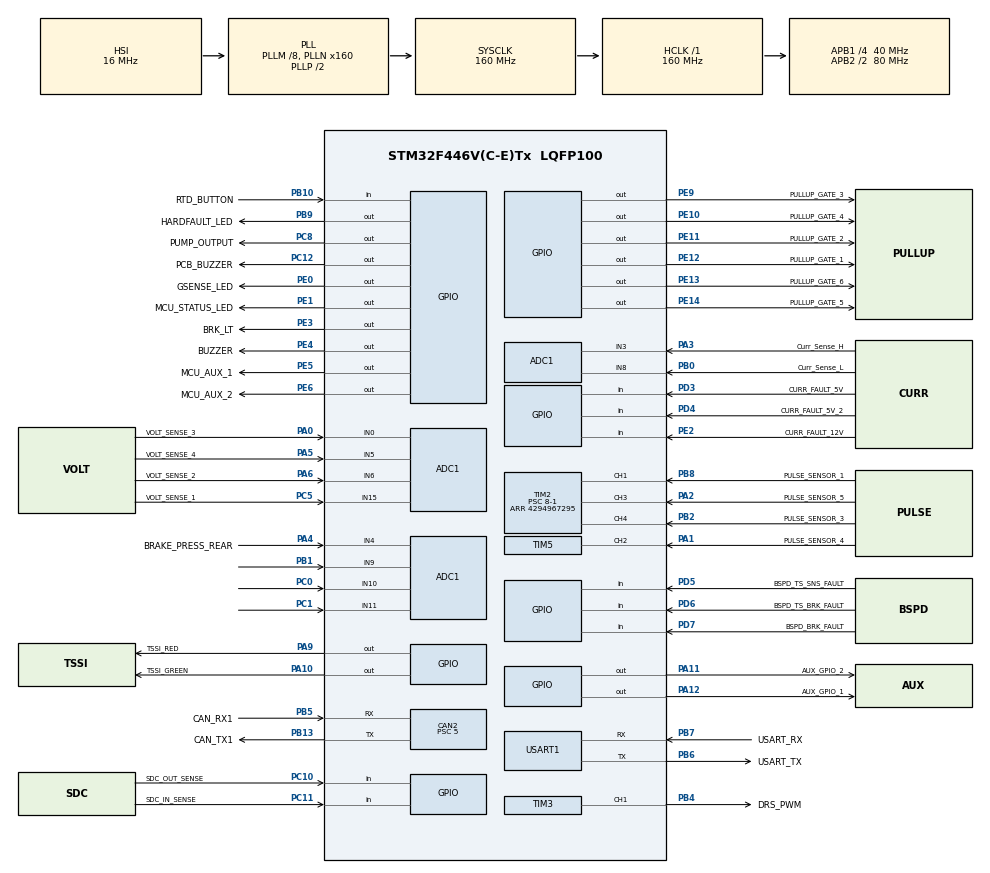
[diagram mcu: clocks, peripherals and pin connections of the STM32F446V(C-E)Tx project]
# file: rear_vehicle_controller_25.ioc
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ADC1.Channel-0\#ChannelRegularConversion=ADC_CHANNEL_0
ADC1.Channel-1\#ChannelRegularConversion=ADC_CHANNEL_3
ADC1.Channel-2\#ChannelRegularConversion=ADC_CHANNEL_4
ADC1.Channel-3\#ChannelRegularConversion=ADC_CHANNEL_5
ADC1.Channel-4\#ChannelRegularConversion=ADC_CHANNEL_6
ADC1.Channel-5\#ChannelRegularConversion=ADC_CHANNEL_8
ADC1.Channel-6\#ChannelRegularConversion=ADC_CHANNEL_9
ADC1.Channel-7\#ChannelRegularConversion=ADC_CHANNEL_10
ADC1.Channel-8\#ChannelRegularConversion=ADC_CHANNEL_11
ADC1.Channel-9\#ChannelRegularConversion=ADC_CHANNEL_15
ADC1.ContinuousConvMode=ENABLE
ADC1.DMAContinuousRequests=ENABLE
ADC1.NbrOfConversion=10
ADC1.NbrOfConversionFlag=1
ADC1.Rank-0\#ChannelRegularConversion=1
ADC1.Rank-1\#ChannelRegularConversion=2
ADC1.Rank-2\#ChannelRegularConversion=3
ADC1.Rank-3\#ChannelRegularConversion=4
ADC1.Rank-4\#ChannelRegularConversion=5
ADC1.Rank-5\#ChannelRegularConversion=6
ADC1.Rank-6\#ChannelRegularConversion=7
ADC1.Rank-7\#ChannelRegularConversion=8
ADC1.Rank-8\#ChannelRegularConversion=9
ADC1.Rank-9\#ChannelRegularConversion=10
ADC1.SamplingTime-0\#ChannelRegularConversion=ADC_SAMPLETIME_480CYCLES
ADC1.SamplingTime-1\#ChannelRegularConversion=ADC_SAMPLETIME_480CYCLES
ADC1.SamplingTime-2\#ChannelRegularConversion=ADC_SAMPLETIME_480CYCLES
ADC1.SamplingTime-3\#ChannelRegularConversion=ADC_SAMPLETIME_480CYCLES
ADC1.SamplingTime-4\#ChannelRegularConversion=ADC_SAMPLETIME_480CYCLES
ADC1.SamplingTime-5\#ChannelRegularConversion=ADC_SAMPLETIME_480CYCLES
ADC1.SamplingTime-6\#ChannelRegularConversion=ADC_SAMPLETIME_480CYCLES
ADC1.SamplingTime-7\#ChannelRegularConversion=ADC_SAMPLETIME_480CYCLES
ADC1.SamplingTime-8\#ChannelRegularConversion=ADC_SAMPLETIME_480CYCLES
ADC1.SamplingTime-9\#ChannelRegularConversion=ADC_SAMPLETIME_480CYCLES
ADC1.ScanConvMode=ENABLE
ADC1.master=1
CAN2.ABOM=ENABLE
CAN2.AWUM=ENABLE
CAN2.BS1=CAN_BS1_6TQ
CAN2.CalculateBaudRate=1000000
CAN2.CalculateTimeBit=1000
CAN2.CalculateTimeQuantum=125.0
CAN2.NART=DISABLE
CAN2.Prescaler=5
Dma.ADC1.0.Direction=DMA_PERIPH_TO_MEMORY
Dma.ADC1.0.FIFOMode=DMA_FIFOMODE_DISABLE
Dma.ADC1.0.Instance=DMA2_Stream0
Dma.ADC1.0.MemDataAlignment=DMA_MDATAALIGN_HALFWORD
Dma.ADC1.0.MemInc=DMA_MINC_ENABLE
Dma.ADC1.0.Mode=DMA_CIRCULAR
Dma.ADC1.0.PeriphDataAlignment=DMA_PDATAALIGN_HALFWORD
Dma.ADC1.0.PeriphInc=DMA_PINC_DISABLE
Dma.ADC1.0.Priority=DMA_PRIORITY_LOW
Dma.Request0=ADC1
Dma.Request1=TIM2_CH2/CH4
Dma.Request2=TIM2_UP/CH3
Dma.Request3=TIM5_CH2
Dma.TIM2_CH2/CH4.1.Direction=DMA_PERIPH_TO_MEMORY
Dma.TIM2_CH2/CH4.1.FIFOMode=DMA_FIFOMODE_DISABLE
Dma.TIM2_CH2/CH4.1.Instance=DMA1_Stream6
Dma.TIM2_CH2/CH4.1.MemDataAlignment=DMA_MDATAALIGN_WORD
Dma.TIM2_CH2/CH4.1.MemInc=DMA_MINC_ENABLE
Dma.TIM2_CH2/CH4.1.Mode=DMA_NORMAL
Dma.TIM2_CH2/CH4.1.PeriphDataAlignment=DMA_PDATAALIGN_WORD
Dma.TIM2_CH2/CH4.1.PeriphInc=DMA_PINC_DISABLE
Dma.TIM2_CH2/CH4.1.Priority=DMA_PRIORITY_LOW
Dma.TIM2_UP/CH3.2.Direction=DMA_PERIPH_TO_MEMORY
Dma.TIM2_UP/CH3.2.FIFOMode=DMA_FIFOMODE_DISABLE
Dma.TIM2_UP/CH3.2.Instance=DMA1_Stream1
Dma.TIM2_UP/CH3.2.MemDataAlignment=DMA_MDATAALIGN_WORD
Dma.TIM2_UP/CH3.2.MemInc=DMA_MINC_ENABLE
Dma.TIM2_UP/CH3.2.Mode=DMA_NORMAL
Dma.TIM2_UP/CH3.2.PeriphDataAlignment=DMA_PDATAALIGN_WORD
Dma.TIM2_UP/CH3.2.PeriphInc=DMA_PINC_DISABLE
Dma.TIM2_UP/CH3.2.Priority=DMA_PRIORITY_LOW
Dma.TIM5_CH2.3.Direction=DMA_PERIPH_TO_MEMORY
Dma.TIM5_CH2.3.FIFOMode=DMA_FIFOMODE_DISABLE
Dma.TIM5_CH2.3.Instance=DMA1_Stream4
Dma.TIM5_CH2.3.MemDataAlignment=DMA_MDATAALIGN_WORD
Dma.TIM5_CH2.3.MemInc=DMA_MINC_ENABLE
Dma.TIM5_CH2.3.Mode=DMA_CIRCULAR
Dma.TIM5_CH2.3.PeriphDataAlignment=DMA_PDATAALIGN_WORD
Dma.TIM5_CH2.3.PeriphInc=DMA_PINC_DISABLE
Dma.TIM5_CH2.3.Priority=DMA_PRIORITY_LOW
FREERTOS.Tasks01=main_task,0,1024,task_MainTask,Default,NULL,Dynamic,NULL,NULL;buffer_handling,1,1024,task_BufferHandling,Default,NULL,Dynamic,NULL,NULL
FREERTOS.configENABLE_FPU=1
FREERTOS.configMINIMAL_STACK_SIZE=256
FREERTOS.configUSE_NEWLIB_REENTRANT=1
Mcu.Family=STM32F4
Mcu.Name=STM32F446V(C-E)Tx
Mcu.Package=LQFP100
NVIC.CAN2_RX0_IRQn=true\:5\:0\:false\:false\:true\:true\:true\:true\:true
NVIC.CAN2_RX1_IRQn=true\:5\:0\:false\:false\:true\:true\:true\:true\:true
NVIC.CAN2_TX_IRQn=true\:5\:0\:false\:false\:true\:true\:true\:true\:true
NVIC.DMA1_Stream1_IRQn=true\:5\:0\:false\:false\:true\:true\:false\:true\:true
NVIC.DMA1_Stream4_IRQn=true\:5\:0\:false\:false\:true\:true\:false\:true\:true
NVIC.DMA1_Stream6_IRQn=true\:5\:0\:false\:false\:true\:true\:false\:true\:true
NVIC.DMA2_Stream0_IRQn=true\:5\:0\:false\:false\:true\:true\:false\:true\:true
NVIC.PriorityGroup=NVIC_PRIORITYGROUP_4
NVIC.TIM1_UP_TIM10_IRQn=true\:5\:0\:false\:false\:true\:true\:true\:true\:true
NVIC.TIM6_DAC_IRQn=true\:15\:0\:false\:false\:true\:false\:false\:true\:true
NVIC.TimeBase=TIM6_DAC_IRQn
NVIC.TimeBaseIP=TIM6
PA0-WKUP.GPIO_Label=VOLT_SENSE_3
PA0-WKUP.Signal=ADCx_IN0
PA1.GPIO_Label=PULSE_SENSOR_4
PA1.Signal=S_TIM5_CH2
PA10.GPIO_Label=TSSI_GREEN
PA10.Signal=GPIO_Output
PA11.GPIO_Label=AUX_GPIO_2
PA11.Signal=GPIO_Output
PA12.GPIO_Label=AUX_GPIO_1
PA12.Signal=GPIO_Output
PA13.GPIO_Label=SWDIO
PA13.Mode=Serial_Wire
PA13.Signal=SYS_JTMS-SWDIO
PA14.GPIO_Label=SWCLK
PA14.Mode=Serial_Wire
PA14.Signal=SYS_JTCK-SWCLK
PA2.GPIO_Label=PULSE_SENSOR_5
PA2.Signal=S_TIM2_CH3
PA3.GPIO_Label=Curr_Sense_H
PA3.Signal=ADCx_IN3
PA4.GPIO_Label=BRAKE_PRESS_REAR
PA4.Signal=ADCx_IN4
PA5.GPIO_Label=VOLT_SENSE_4
PA5.Signal=ADCx_IN5
PA6.GPIO_Label=VOLT_SENSE_2
PA6.Signal=ADCx_IN6
PA8.GPIO_Label=TH_SCL
PA8.Signal=I2C3_SCL
PA9.GPIO_Label=TSSI_RED
PA9.Signal=GPIO_Output
PB0.GPIO_Label=Curr_Sense_L
PB0.Signal=ADCx_IN8
PB1.Signal=ADCx_IN9
PB10.GPIO_Label=RTD_BUTTON
PB10.GPIO_PuPd=GPIO_PULLUP
PB10.Signal=GPIO_Input
PB13.GPIO_Label=CAN_TX1
PB13.Mode=CAN_Activate
PB13.Signal=CAN2_TX
PB2.GPIO_Label=PULSE_SENSOR_3
PB2.Signal=S_TIM2_CH4
PB3.Signal=SYS_JTDO-SWO
PB4.GPIO_Label=DRS_PWM
PB4.Signal=S_TIM3_CH1
PB5.GPIO_Label=CAN_RX1
PB5.Mode=CAN_Activate
PB5.Signal=CAN2_RX
PB6.GPIO_Label=USART_TX
PB6.Mode=Asynchronous
PB6.Signal=USART1_TX
PB7.GPIO_Label=USART_RX
PB7.Mode=Asynchronous
PB7.Signal=USART1_RX
PB8.GPIO_Label=PULSE_SENSOR_1
PB8.Signal=S_TIM2_CH1_ETR
PB9.GPIO_Label=HARDFAULT_LED
PB9.Signal=GPIO_Output
PC0.Signal=ADCx_IN10
PC1.Signal=ADCx_IN11
PC10.GPIO_Label=SDC_OUT_SENSE
PC10.Signal=GPIO_Input
PC11.GPIO_Label=SDC_IN_SENSE
PC11.Signal=GPIO_Input
PC12.GPIO_Label=PCB_BUZZER
PC12.Signal=GPIO_Output
PC5.GPIO_Label=VOLT_SENSE_1
PC5.Signal=ADCx_IN15
PC8.GPIO_Label=PUMP_OUTPUT
PC8.Signal=GPIO_Output
PC9.GPIO_Label=TH_SDA
PC9.Signal=I2C3_SDA
PD3.GPIO_Label=CURR_FAULT_5V
PD3.Signal=GPIO_Input
PD4.GPIO_Label=CURR_FAULT_5V_2
PD4.Signal=GPIO_Input
PD5.GPIO_Label=BSPD_TS_SNS_FAULT
PD5.Signal=GPIO_Input
PD6.GPIO_Label=BSPD_TS_BRK_FAULT
PD6.Signal=GPIO_Input
PD7.GPIO_Label=BSPD_BRK_FAULT
PD7.Signal=GPIO_Input
PE0.GPIO_Label=GSENSE_LED
PE0.Signal=GPIO_Output
PE1.GPIO_Label=MCU_STATUS_LED
PE1.Signal=GPIO_Output
PE10.GPIO_Label=PULLUP_GATE_4
PE10.GPIO_ModeDefaultOutputPP=GPIO_MODE_OUTPUT_OD
PE10.GPIO_PuPd=GPIO_NOPULL
PE10.Signal=GPIO_Output
PE11.GPIO_Label=PULLUP_GATE_2
PE11.GPIO_ModeDefaultOutputPP=GPIO_MODE_OUTPUT_OD
PE11.GPIO_PuPd=GPIO_NOPULL
PE11.Signal=GPIO_Output
PE12.GPIO_Label=PULLUP_GATE_1
PE12.GPIO_ModeDefaultOutputPP=GPIO_MODE_OUTPUT_OD
PE12.GPIO_PuPd=GPIO_NOPULL
PE12.Signal=GPIO_Output
PE13.GPIO_Label=PULLUP_GATE_6
PE13.GPIO_ModeDefaultOutputPP=GPIO_MODE_OUTPUT_OD
PE13.GPIO_PuPd=GPIO_NOPULL
PE13.Signal=GPIO_Output
PE14.GPIO_Label=PULLUP_GATE_5
PE14.GPIO_ModeDefaultOutputPP=GPIO_MODE_OUTPUT_OD
PE14.GPIO_PuPd=GPIO_NOPULL
PE14.Signal=GPIO_Output
PE2.GPIO_Label=CURR_FAULT_12V
PE2.Signal=GPIO_Input
PE3.GPIO_Label=BRK_LT
PE3.Signal=GPIO_Output
PE4.GPIO_Label=BUZZER
PE4.Signal=GPIO_Output
PE5.GPIO_Label=MCU_AUX_1
PE5.Signal=GPIO_Output
PE6.GPIO_Label=MCU_AUX_2
PE6.Signal=GPIO_Output
PE9.GPIO_Label=PULLUP_GATE_3
PE9.GPIO_ModeDefaultOutputPP=GPIO_MODE_OUTPUT_OD
PE9.GPIO_PuPd=GPIO_NOPULL
PE9.Signal=GPIO_Output
PH0-OSC_IN.Mode=HSE-External-Clock-Source
PH0-OSC_IN.Signal=RCC_OSC_IN
PH1-OSC_OUT.Mode=HSE-External-Clock-Source
PH1-OSC_OUT.Signal=RCC_OSC_OUT
ProjectManager.HeapSize=0x200
ProjectManager.StackSize=0x400
ProjectManager.TargetToolchain=STM32CubeIDE
RCC.AHBFreq_Value=160000000
RCC.APB1CLKDivider=RCC_HCLK_DIV4
RCC.APB1Freq_Value=40000000
RCC.APB1TimFreq_Value=80000000
RCC.APB2CLKDivider=RCC_HCLK_DIV2
RCC.APB2Freq_Value=80000000
RCC.APB2TimFreq_Value=160000000
RCC.CortexFreq_Value=160000000
RCC.HCLKFreq_Value=160000000
RCC.HSE_VALUE=24000000
RCC.PLLM=8
RCC.PLLN=160
RCC.SYSCLKFreq_VALUE=160000000
RCC.SYSCLKSource=RCC_SYSCLKSOURCE_PLLCLK
RCC.USBFreq_Value=160000000
RCC.VCOOutputFreq_Value=320000000
SH.ADCx_IN0.0=ADC1_IN0,IN0
SH.ADCx_IN10.0=ADC1_IN10,IN10
SH.ADCx_IN11.0=ADC1_IN11,IN11
SH.ADCx_IN15.0=ADC1_IN15,IN15
SH.ADCx_IN3.0=ADC1_IN3,IN3
SH.ADCx_IN4.0=ADC1_IN4,IN4
SH.ADCx_IN5.0=ADC1_IN5,IN5
SH.ADCx_IN6.0=ADC1_IN6,IN6
SH.ADCx_IN8.0=ADC1_IN8,IN8
SH.ADCx_IN9.0=ADC1_IN9,IN9
SH.S_TIM2_CH1_ETR.0=TIM2_CH1,Input_Capture1_from_TI1
SH.S_TIM2_CH3.0=TIM2_CH3,Input_Capture3_from_TI3
SH.S_TIM2_CH4.0=TIM2_CH4,Input_Capture4_from_TI4
SH.S_TIM3_CH1.0=TIM3_CH1,PWM Generation1 CH1
SH.S_TIM5_CH2.0=TIM5_CH2,Input_Capture2_from_TI2
TIM2.Channel-Input_Capture1_from_TI1=TIM_CHANNEL_1
TIM2.Channel-Input_Capture3_from_TI3=TIM_CHANNEL_3
TIM2.Channel-Input_Capture4_from_TI4=TIM_CHANNEL_4
TIM2.Period=4294967295
TIM2.Prescaler=8-1
TIM3.Channel-PWM\ Generation1\ CH1=TIM_CHANNEL_1
TIM3.Period=30100
TIM3.Prescaler=8-1
TIM3.Pulse-PWM\ Generation1\ CH1=30000
TIM5.Channel-Input_Capture2_from_TI2=TIM_CHANNEL_2
USART1.VirtualMode=VM_ASYNC
VP_FREERTOS_VS_CMSIS_V1.Mode=CMSIS_V1
VP_SYS_VS_tim6.Mode=TIM6
VP_TIM10_VS_ClockSourceINT.Mode=Enable_Timer
VP_TIM1_VS_ClockSourceINT.Mode=Internal
VP_TIM2_VS_ClockSourceINT.Mode=Internal
VP_TIM3_VS_ClockSourceINT.Mode=Internal
VP_TIM5_VS_ClockSourceINT.Mode=Internal
board=custom

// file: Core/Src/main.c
/* USER CODE BEGIN Header */
/**
  ******************************************************************************
  * @file           : main.c
  * @brief          : Main program body
  ******************************************************************************
  * @attention
  *
  * Copyright (c) 2022 STMicroelectronics.
  * All rights reserved.
  *
  * This software is licensed under terms that can be found in the LICENSE file
  * in the root directory of this software component.
  * If no LICENSE file comes with this software, it is provided AS-IS.
  *
  ******************************************************************************
  */
/* USER CODE END Header */
#include "main.h"
#include "cmsis_os.h"
#include "adc.h"
#include "can.h"
#include "dma.h"
#include "tim.h"
#include "usart.h"
#include "gpio.h"

/* USER CODE BEGIN Includes */
#include "gopher_sense.h"
#include "drs.h"
#include "rvc.h"
#include "pulse_sensor.h"
/* USER CODE END Includes */

/* USER CODE BEGIN PD */
#define IC_TIMER &htim2
#define HDMA_CHANNEL 1

 //(X pulses / 1 sec) * (3600 sec / 1 hr) * (1 rev / 30 pulses) * ([wheel diameter * pi] in / 1 rev) * (1 mile/63360 in) =
#define CONVERSION_RATIO 0.0595f
#define DMA_STOPPED_TIMEOUT_MS 1000
#define USE_VAR_SS true
#define LOW_SAMPLES 100
#define HIGH_SAMPLES 1000
#define MIN_SAMPLES 5
/* USER CODE END PD */

void SystemClock_Config(void);
void MX_FREERTOS_Init(void);

int main(void)
{

  /* MCU Configuration--------------------------------------------------------*/

  /* Reset of all peripherals, Initializes the Flash interface and the Systick. */
  HAL_Init();

  /* Configure the system clock */
  SystemClock_Config();

  /* USER CODE BEGIN SysInit */

  MX_DMA_Init();

  /* USER CODE END SysInit */

  /* Initialize all configured peripherals */
  MX_GPIO_Init();
  MX_DMA_Init();
  MX_ADC1_Init();
  MX_CAN2_Init();
  MX_TIM1_Init();
  MX_TIM2_Init();
  MX_TIM3_Init();
  MX_TIM10_Init();
  MX_USART1_UART_Init();
  MX_TIM5_Init();
  /* USER CODE BEGIN 2 */

  init(&hcan2);
  gsense_init(&hcan2, &hadc1, NULL, NULL, &htim10, GSENSE_LED_GPIO_Port, GSENSE_LED_Pin);
#ifdef USING_PUMP_PWM
  init_Pump(&htim8,TIM_CHANNEL_3);
#endif
  init_DRS_servo(&htim3, TIM_CHANNEL_1);
  init_pullup_configs();
  //this should be wheelSpeedRearLeft_mph.data
//  setup_pulse_sensor_vss(
//  		  &tim2,
//   		  TIM_CHANNEL_1,
//   		  IC_CONVERSION_RATIO,
//   		  &(tcm_data.trans_speed),
//  		  DMA_STOPPED_TIMEOUT_MS,
//   		  USE_VAR_SS,
//   		  IC_LOW_SAMPLES,
//   		  IC_HIGH_SAMPLES,
//  		  MIN_SAMPLES,
//  		  64
//     );

  setup_pulse_sensor_vss(
    		  &htim2,
     		  TIM_CHANNEL_3,
     		  CONVERSION_RATIO,
     		  &(wheelSpeedRearLeft_mph.data),
    		  DMA_STOPPED_TIMEOUT_MS,
     		  USE_VAR_SS,
     		  LOW_SAMPLES,
     		  HIGH_SAMPLES,
    		  MIN_SAMPLES,
    		  64
       );

  setup_pulse_sensor_vss(
    		  &htim2,
     		  TIM_CHANNEL_4,
     		  CONVERSION_RATIO,
     		  &(wheelSpeedRearRight_mph.data),
    		  DMA_STOPPED_TIMEOUT_MS,
     		  USE_VAR_SS,
     		  LOW_SAMPLES,
     		  HIGH_SAMPLES,
    		  MIN_SAMPLES,
    		  64
       );

  /* USER CODE END 2 */

  /* Call init function for freertos objects (in cmsis_os2.c) */
  MX_FREERTOS_Init();

  /* Start scheduler */
  osKernelStart();

  /* We should never get here as control is now taken by the scheduler */

  /* Infinite loop */
  while (1)
  {

  }
}

void SystemClock_Config(void)
{
  RCC_OscInitTypeDef RCC_OscInitStruct = {0};
  RCC_ClkInitTypeDef RCC_ClkInitStruct = {0};

  /** Configure the main internal regulator output voltage
  */
  __HAL_RCC_PWR_CLK_ENABLE();
  __HAL_PWR_VOLTAGESCALING_CONFIG(PWR_REGULATOR_VOLTAGE_SCALE1);

  /** Initializes the RCC Oscillators according to the specified parameters
  * in the RCC_OscInitTypeDef structure.
  */
  RCC_OscInitStruct.OscillatorType = RCC_OSCILLATORTYPE_HSI;
  RCC_OscInitStruct.HSIState = RCC_HSI_ON;
  RCC_OscInitStruct.HSICalibrationValue = RCC_HSICALIBRATION_DEFAULT;
  RCC_OscInitStruct.PLL.PLLState = RCC_PLL_ON;
  RCC_OscInitStruct.PLL.PLLSource = RCC_PLLSOURCE_HSI;
  RCC_OscInitStruct.PLL.PLLM = 8;
  RCC_OscInitStruct.PLL.PLLN = 160;
  RCC_OscInitStruct.PLL.PLLP = RCC_PLLP_DIV2;
  RCC_OscInitStruct.PLL.PLLQ = 2;
  RCC_OscInitStruct.PLL.PLLR = 2;
  if (HAL_RCC_OscConfig(&RCC_OscInitStruct) != HAL_OK)
  {
    Error_Handler();
  }

  /** Initializes the CPU, AHB and APB buses clocks
  */
  RCC_ClkInitStruct.ClockType = RCC_CLOCKTYPE_HCLK|RCC_CLOCKTYPE_SYSCLK
                              |RCC_CLOCKTYPE_PCLK1|RCC_CLOCKTYPE_PCLK2;
  RCC_ClkInitStruct.SYSCLKSource = RCC_SYSCLKSOURCE_PLLCLK;
  RCC_ClkInitStruct.AHBCLKDivider = RCC_SYSCLK_DIV1;
  RCC_ClkInitStruct.APB1CLKDivider = RCC_HCLK_DIV4;
  RCC_ClkInitStruct.APB2CLKDivider = RCC_HCLK_DIV2;

  if (HAL_RCC_ClockConfig(&RCC_ClkInitStruct, FLASH_LATENCY_5) != HAL_OK)
  {
    Error_Handler();
  }
}

void HAL_TIM_PeriodElapsedCallback(TIM_HandleTypeDef *htim)
{
  if (htim->Instance == TIM6)
  {
    HAL_IncTick();
  }
  /* USER CODE BEGIN Callback 1 */
  else if(htim->Instance == TIM10) {
  	  DAQ_TimerCallback(&htim10);
  }
  /* USER CODE END Callback 1 */
}

void Error_Handler(void)
{
  __disable_irq();
  while (1)
  {
  }
}

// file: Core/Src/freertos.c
/* USER CODE BEGIN Header */
/**
  ******************************************************************************
  * File Name          : freertos.c
  * Description        : Code for freertos applications
  ******************************************************************************
  * @attention
  *
  * Copyright (c) 2022 STMicroelectronics.
  * All rights reserved.
  *
  * This software is licensed under terms that can be found in the LICENSE file
  * in the root directory of this software component.
  * If no LICENSE file comes with this software, it is provided AS-IS.
  *
  ******************************************************************************
  */
/* USER CODE END Header */

#include "FreeRTOS.h"
#include "task.h"
#include "main.h"
#include "cmsis_os.h"

/* USER CODE BEGIN Includes */
#include "rvc.h"
#include "adc.h"
#include "gopher_sense.h"
/* USER CODE END Includes */

osThreadId main_taskHandle;
osThreadId buffer_handlingHandle;

void task_MainTask(void const * argument);
void task_BufferHandling(void const * argument);

void MX_FREERTOS_Init(void); /* (MISRA C 2004 rule 8.1) */

/* GetIdleTaskMemory prototype (linked to static allocation support) */
void vApplicationGetIdleTaskMemory( StaticTask_t **ppxIdleTaskTCBBuffer, StackType_t **ppxIdleTaskStackBuffer, uint32_t *pulIdleTaskStackSize );

/* USER CODE BEGIN GET_IDLE_TASK_MEMORY */
static StaticTask_t xIdleTaskTCBBuffer;
static StackType_t xIdleStack[configMINIMAL_STACK_SIZE];

void vApplicationGetIdleTaskMemory( StaticTask_t **ppxIdleTaskTCBBuffer, StackType_t **ppxIdleTaskStackBuffer, uint32_t *pulIdleTaskStackSize )
{
  *ppxIdleTaskTCBBuffer = &xIdleTaskTCBBuffer;
  *ppxIdleTaskStackBuffer = &xIdleStack[0];
  *pulIdleTaskStackSize = configMINIMAL_STACK_SIZE;
  /* place for user code */
}
/* USER CODE END GET_IDLE_TASK_MEMORY */

void MX_FREERTOS_Init(void) {

  /* Create the thread(s) */
  /* definition and creation of main_task */
  osThreadDef(main_task, task_MainTask, osPriorityNormal, 0, 1024);
  main_taskHandle = osThreadCreate(osThread(main_task), NULL);

  /* definition and creation of buffer_handling */
  osThreadDef(buffer_handling, task_BufferHandling, osPriorityAboveNormal, 0, 1024);
  buffer_handlingHandle = osThreadCreate(osThread(buffer_handling), NULL);

}

void task_MainTask(void const * argument)
{
  /* USER CODE BEGIN task_MainTask */
  /* Infinite loop */
  for(;;)
  {
	main_loop();
	osDelay(1);
  }
  /* USER CODE END task_MainTask */
}

void task_BufferHandling(void const * argument)
{
  /* USER CODE BEGIN task_BufferHandling */
  /* Infinite loop */
  for(;;)
  {
	can_buffer_handling_loop();
    osDelay(1);
  }
  /* USER CODE END task_BufferHandling */
}
